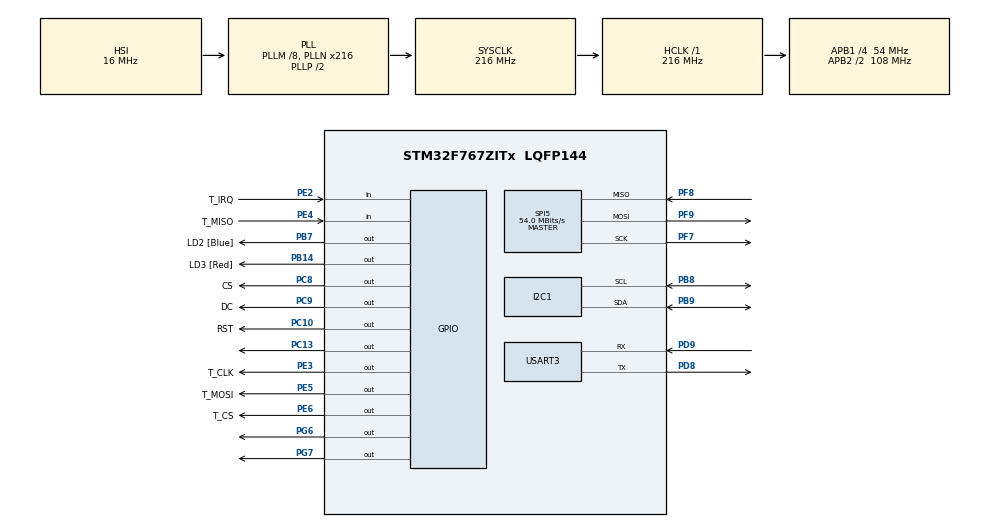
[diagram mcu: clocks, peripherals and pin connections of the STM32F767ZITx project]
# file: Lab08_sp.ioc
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CORTEX_M7.default_mode_Activation=1
I2C1.Timing=0x20404768
Mcu.Family=STM32F7
Mcu.Name=STM32F767ZITx
Mcu.Package=LQFP144
NVIC.PriorityGroup=NVIC_PRIORITYGROUP_4
NVIC.TIM1_UP_TIM10_IRQn=true\:1\:0\:true\:false\:true\:true\:true\:true
NVIC.TIM2_IRQn=true\:2\:0\:true\:false\:true\:true\:true\:true
PB14.GPIO_Label=LD3 [Red]
PB14.Signal=GPIO_Output
PB7.GPIO_Label=LD2 [Blue]
PB7.Signal=GPIO_Output
PB8.Mode=I2C
PB8.Signal=I2C1_SCL
PB9.Mode=I2C
PB9.Signal=I2C1_SDA
PC10.GPIO_Label=RST
PC10.GPIO_Speed=GPIO_SPEED_FREQ_VERY_HIGH
PC10.Signal=GPIO_Output
PC13.Signal=GPIO_Output
PC8.GPIO_Label=CS
PC8.GPIO_Speed=GPIO_SPEED_FREQ_VERY_HIGH
PC8.Signal=GPIO_Output
PC9.GPIO_Label=DC
PC9.GPIO_Speed=GPIO_SPEED_FREQ_VERY_HIGH
PC9.Signal=GPIO_Output
PD8.Mode=Asynchronous
PD8.Signal=USART3_TX
PD9.Mode=Asynchronous
PD9.Signal=USART3_RX
PE2.GPIO_Label=T_IRQ
PE2.Signal=GPIO_Input
PE3.GPIO_Label=T_CLK
PE3.GPIO_Speed=GPIO_SPEED_FREQ_VERY_HIGH
PE3.Signal=GPIO_Output
PE4.GPIO_Label=T_MISO
PE4.Signal=GPIO_Input
PE5.GPIO_Label=T_MOSI
PE5.GPIO_Speed=GPIO_SPEED_FREQ_VERY_HIGH
PE5.Signal=GPIO_Output
PE6.GPIO_Label=T_CS
PE6.Signal=GPIO_Output
PF7.Mode=Full_Duplex_Master
PF7.Signal=SPI5_SCK
PF8.Mode=Full_Duplex_Master
PF8.Signal=SPI5_MISO
PF9.Mode=Full_Duplex_Master
PF9.Signal=SPI5_MOSI
PG6.Signal=GPIO_Output
PG7.Signal=GPIO_Output
ProjectManager.HeapSize=0x200
ProjectManager.StackSize=0x400
ProjectManager.TargetToolchain=STM32CubeIDE
RCC.AHBFreq_Value=216000000
RCC.APB1CLKDivider=RCC_HCLK_DIV4
RCC.APB1Freq_Value=54000000
RCC.APB1TimFreq_Value=108000000
RCC.APB2CLKDivider=RCC_HCLK_DIV2
RCC.APB2Freq_Value=108000000
RCC.APB2TimFreq_Value=216000000
RCC.CortexFreq_Value=216000000
RCC.HCLKFreq_Value=216000000
RCC.HSE_VALUE=25000000
RCC.HSI_VALUE=16000000
RCC.LSE_VALUE=32768
RCC.PLLM=8
RCC.PLLN=216
RCC.PLLQ=9
RCC.SYSCLKFreq_VALUE=216000000
RCC.SYSCLKSource=RCC_SYSCLKSOURCE_PLLCLK
RCC.USBFreq_Value=48000000
RCC.VCOOutputFreq_Value=432000000
SPI5.CalculateBaudRate=54.0 MBits/s
SPI5.DataSize=SPI_DATASIZE_8BIT
SPI5.Direction=SPI_DIRECTION_2LINES
SPI5.Mode=SPI_MODE_MASTER
SPI5.NSSPMode=SPI_NSS_PULSE_DISABLE
SPI5.VirtualType=VM_MASTER
TIM1.ClockDivision=TIM_CLOCKDIVISION_DIV2
TIM1.Period=0
TIM1.Prescaler=216-1
USART3.VirtualMode-Asynchronous=VM_ASYNC
VP_RNG_VS_RNG.Mode=RNG_Activate
VP_TIM1_VS_ClockSourceINT.Mode=Internal
VP_TIM2_VS_ClockSourceINT.Mode=Internal
board=custom

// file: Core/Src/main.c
/* USER CODE BEGIN Header */
/**
  ******************************************************************************
  * @file           : main.c
  * @brief          : Main program body
  ******************************************************************************
  * @attention
  *
  * Copyright (c) 2025 STMicroelectronics.
  * All rights reserved.
  *
  * This software is licensed under terms that can be found in the LICENSE file
  * in the root directory of this software component.
  * If no LICENSE file comes with this software, it is provided AS-IS.
  *
  ******************************************************************************
  */
/* USER CODE END Header */
#include "main.h"
#include "i2c.h"
#include "rng.h"
#include "spi.h"
#include "tim.h"
#include "usart.h"
#include "gpio.h"

/* USER CODE BEGIN Includes */
#include "ILI9341_Touchscreen.h"
#include "ILI9341_STM32_Driver.h"
#include "ILI9341_GFX.h"

#include "snow_tiger.h"
#include "stdio.h"
#include "string.h"

/* USER CODE END Includes */

/* USER CODE BEGIN PD */

#define LIGHT_RED 0b1111110011010011
#define LIGHT_GREEN 0b1001111111110011
#define LIGHT_BLUE 0b1001110011011111

/* USER CODE END PD */

/* USER CODE BEGIN PV */
/* Private variables ---------------------------------------------------------*/
uint16_t coords[2];
uint16_t tx = 0;
uint16_t ty = 0;

char str[50];
char debug[50];

uint8_t cmdBuffer[3];
uint8_t dataBuffer[8];
uint16_t mixedColor = 0x0000;

float h = 30.0, t = 40.0;
uint8_t step = 0;
volatile uint8_t touchFlag = 0;

float Red_L = 0;
float Green_L = 0;
float Blue_L = 0;

uint8_t redValue = 0;
uint8_t greenValue = 0;
uint8_t blueValue = 0;

char T_Buffer[8];
char H_Buffer[8];

uint8_t screen = 0;
/* USER CODE END PV */

void SystemClock_Config(void);
static void MPU_Config(void);
/* USER CODE BEGIN PFP */
/* Private function prototypes -----------------------------------------------*/
uint16_t CRC16_2(uint8_t *, uint8_t);
/* USER CODE END PFP */

/* USER CODE BEGIN 0 */
uint16_t CRC16_2(uint8_t *ptr, uint8_t length){

	uint16_t crc = 0xFFFF;
	uint8_t  s   = 0x00;

	while(length--){
		crc ^= *ptr++;
		for(s = 0; s < 8; s++){
			if((crc & 0x01) != 0){
				crc >>= 1;
				crc ^= 0xA001;
			} else crc >>= 1;
		}
	}
	return crc;
}

uint8_t IsCircleTouched(uint16_t tx, uint16_t ty, uint16_t cx, uint16_t cy, uint16_t r) {
    int dx = tx - cx;
    int dy = ty - cy;
    return (dx*dx + dy*dy <= r*r);  // inside circle?
}

void mixColor() {
  redValue = 0b11111;
  greenValue = 0b111111;
  blueValue = 0b11111;

  redValue = (uint8_t)(redValue * Red_L);
  greenValue = (uint8_t)(greenValue * Green_L);
  blueValue = (uint8_t)(blueValue * Blue_L);

  mixedColor = (uint16_t)(blueValue);
  mixedColor |= (greenValue << 5);
  mixedColor |= (redValue << 11);
}

void initializeScreen0() {
	ILI9341_Set_Rotation(SCREEN_HORIZONTAL_2);
	ILI9341_Fill_Screen(WHITE);

	sprintf(T_Buffer, "%4.1f C", t);
	ILI9341_Draw_Text(T_Buffer, 60, 40, BLACK, 2, WHITE);

	sprintf(H_Buffer, "%4.1f %%RH", h);
	ILI9341_Draw_Text(H_Buffer, 170, 40, BLACK, 2, WHITE);
//		HAL_Delay(2000);
//		ILI9341_Fill_Screen(WHITE);

	ILI9341_Draw_Rectangle(70, 90, 170, 20, LIGHT_RED);
	ILI9341_Draw_Rectangle(70, 90,  (uint16_t)(170 * Red_L), 20, RED);

	ILI9341_Draw_Rectangle(70, 140, 170, 20, LIGHT_GREEN);
	ILI9341_Draw_Rectangle(70, 140, (uint16_t)(170 * Green_L), 20, GREEN);

	ILI9341_Draw_Rectangle(70, 190, 170, 20, LIGHT_BLUE);
	ILI9341_Draw_Rectangle(70, 190, (uint16_t)(170 * Blue_L), 20, BLUE);

	ILI9341_Draw_Filled_Circle(50, 100, 30/2, RED);
	ILI9341_Draw_Filled_Circle(50, 150, 30/2, GREEN);
	ILI9341_Draw_Filled_Circle(50, 200, 30/2, BLUE);

}

/* USER CODE END 0 */

int main(void)
{

  /* MPU Configuration--------------------------------------------------------*/
  MPU_Config();

  /* MCU Configuration--------------------------------------------------------*/

  /* Reset of all peripherals, Initializes the Flash interface and the Systick. */
  HAL_Init();

  /* Configure the system clock */
  SystemClock_Config();

  /* Initialize all configured peripherals */
  MX_GPIO_Init();
  MX_RNG_Init();
  MX_SPI5_Init();
  MX_TIM1_Init();
  MX_USART3_UART_Init();
  MX_I2C1_Init();
  MX_TIM2_Init();
  /* USER CODE BEGIN 2 */

  ILI9341_Init();//initial driver setup to drive ili9341
  initializeScreen0();

  cmdBuffer[0] = 0x03;
  cmdBuffer[1] = 0x00;
  cmdBuffer[2] = 0x04;

  /* USER CODE END 2 */

  /* Infinite loop */
  while (1)
  {

    /* USER CODE BEGIN 3 */
	  sprintf(debug, "Screen = %d\n", screen);
	  HAL_UART_Transmit(&huart3, (uint8_t*)debug, strlen(debug), 200);

	  if (screen == 0) {
		  sprintf(str, "Temperature = %4.1f\tHumidity = %4.1f\n\r", t, h);
		  	  while(__HAL_UART_GET_FLAG(&huart3, UART_FLAG_TC) == RESET){}
		  	  HAL_UART_Transmit(&huart3, (uint8_t*)str, strlen(str), 200);

		  	  HAL_I2C_Master_Transmit(&hi2c1, 0x5c<<1, cmdBuffer, 3, 200);

		  	  HAL_I2C_Master_Transmit(&hi2c1, 0x5c<<1, cmdBuffer, 3, 200);

		  	  HAL_Delay(5);

		  	  HAL_I2C_Master_Receive(&hi2c1, 0x5c<<1, dataBuffer, 8, 200);

		  	  uint8_t Rcrc = dataBuffer[7] << 8;
		  	  Rcrc += dataBuffer[6];

		  	  if (Rcrc == CRC16_2(dataBuffer, 6)) {
		  		  uint16_t temperature = ((dataBuffer[4] & 0x7F) << 8) + dataBuffer[5];
		  		  t = temperature / 10.0;
		  		  t = (((dataBuffer[4] & 0x80) >> 7) == 1) ? (t * (-1)) : t;

		  		  uint16_t humidity = (dataBuffer[2] << 8) + dataBuffer[3];
		  		  h = humidity / 10.0;
		  	  }

		  		sprintf(T_Buffer, "%4.1f C", t);
		  		ILI9341_Draw_Text(T_Buffer, 60, 40, BLACK, 2, WHITE);

		  		sprintf(H_Buffer, "%4.1f %%RH", h);
		  		ILI9341_Draw_Text(H_Buffer, 170, 40, BLACK, 2, WHITE);
		  //		HAL_Delay(2000);
		  //		ILI9341_Fill_Screen(WHITE);

		  		ILI9341_Draw_Rectangle(70, 90, 170, 20, LIGHT_RED);
		  		ILI9341_Draw_Rectangle(70, 90,  (uint16_t)(170 * Red_L), 20, RED);

		  		ILI9341_Draw_Rectangle(70, 140, 170, 20, LIGHT_GREEN);
		  		ILI9341_Draw_Rectangle(70, 140, (uint16_t)(170 * Green_L), 20, GREEN);

		  		ILI9341_Draw_Rectangle(70, 190, 170, 20, LIGHT_BLUE);
		  		ILI9341_Draw_Rectangle(70, 190, (uint16_t)(170 * Blue_L), 20, BLUE);

		  		ILI9341_Draw_Filled_Circle(150, 50, 30/2, mixedColor);
		  		sprintf(debug, "Mixed Color = %d\n", mixedColor);
		  		HAL_UART_Transmit(&huart3, (uint8_t*)debug, strlen(debug), 200);

		  		if (TP_Touchpad_Pressed()) {

		  			if (TP_Read_Coordinates(coords) == TOUCHPAD_DATA_OK) {
		  				tx = coords[0];
		  				ty = coords[1];

		  				sprintf(debug, "X = %d | Y = %d", coords[0], coords[1]);
		  				HAL_UART_Transmit(&huart3, (uint8_t*)debug, strlen(debug), 200);

		  				if ((tx >= 85 && tx <= 115) && (ty >= 265 && ty <= 295)) {
		  					Red_L += 0.1;
		  			  		if (Red_L > 1.01) {
		  			  			Red_L = 0;
		  			  		}

		  					sprintf(debug, "Red_L = %.2f\r\n", Red_L);
		  					HAL_UART_Transmit(&huart3, (uint8_t*)debug, strlen(debug), 200);
		  				}

		  			    if ((tx >= 135 && tx <= 165) && (ty >= 265 && ty <= 295)) {
		  					Green_L += 0.1;
		  			  		if (Green_L > 1.01) {
		  			  			Green_L = 0;
		  			  		}

		  					sprintf(debug, "Green_L = %.2f\r\n", Green_L);
		  					HAL_UART_Transmit(&huart3, (uint8_t*)debug, strlen(debug), 200);
		  				}

		  				if ((tx >= 185 && tx <= 215) && (ty >= 265 && ty <= 295)) {
		  					Blue_L += 0.1;
		  			  		if (Blue_L > 1.01) {
		  			  			Blue_L = 0;
		  			  		}

		  					sprintf(debug, "Blue_L = %.2f\r\n", Blue_L);
		  					HAL_UART_Transmit(&huart3, (uint8_t*)debug, strlen(debug), 200);
		  				}

		  				if ((tx >= 30 && tx <= 60) && (ty >= 155 && ty <= 185)) {
		  					screen = 1;
		  					continue;
		  				}

		  				mixColor();
		  			}
		  		}
	  }
	  else if (screen == 1) {
	      ILI9341_Set_Rotation(SCREEN_HORIZONTAL_2);
	  	  ILI9341_Fill_Screen(WHITE);
//	      ILI9341_Draw_Image(CHILL_GUY, SCREEN_HORIZONTAL_1);

	      char group[] = "Group #28";
	      ILI9341_Draw_Text(group, 144, 64 + (32 * 0), mixedColor, 2, WHITE);

	      char name[] = "Jiraphat";
	      ILI9341_Draw_Text(name, 144, 64 + (32 * 1), mixedColor, 2, WHITE);

	      char surname[] = "Sabutr";
	      ILI9341_Draw_Text(surname, 144, 64 + (32 * 2), mixedColor, 2, WHITE);

	      char id[] = "66010121";
	      ILI9341_Draw_Text(id, 144, 64 + (32 * 3), mixedColor, 2, WHITE);

	      HAL_TIM_Base_Start_IT(&htim2);

	      while (screen == 1) {
	              if (TP_Read_Coordinates(coords) == TOUCHPAD_DATA_OK) {
	                tx = coords[0];
	                ty = coords[1];

	                // ILI9341_Set_Rotation(SCREEN_HORIZONTAL_1);
	                // char counter_buff[30];
	                // sprintf(counter_buff, "POS X: %.3d", posX);
	                // ILI9341_Draw_Text(counter_buff, 10, 0, BLACK, 2, WHITE);
	                // sprintf(counter_buff, "POS Y: %.3d", posY);
	                // ILI9341_Draw_Text(counter_buff, 10, 16, BLACK, 2, WHITE);
	                // ILI9341_Set_Rotation(SCREEN_VERTICAL_1);

	                if ((tx >= 28 && tx <= 226) && (ty >= 16 && ty <= 134)) {
	                  screen = 0;
	                  initializeScreen0();
	                  break;
	                }
	              }
	            }
	            // screen = 0;
	            // initializeScreen0();
	  	  }
	  }

  /* USER CODE END 3 */
}

void SystemClock_Config(void)
{
  RCC_OscInitTypeDef RCC_OscInitStruct = {0};
  RCC_ClkInitTypeDef RCC_ClkInitStruct = {0};

  /** Configure the main internal regulator output voltage
  */
  __HAL_RCC_PWR_CLK_ENABLE();
  __HAL_PWR_VOLTAGESCALING_CONFIG(PWR_REGULATOR_VOLTAGE_SCALE1);

  /** Initializes the RCC Oscillators according to the specified parameters
  * in the RCC_OscInitTypeDef structure.
  */
  RCC_OscInitStruct.OscillatorType = RCC_OSCILLATORTYPE_HSI;
  RCC_OscInitStruct.HSIState = RCC_HSI_ON;
  RCC_OscInitStruct.HSICalibrationValue = RCC_HSICALIBRATION_DEFAULT;
  RCC_OscInitStruct.PLL.PLLState = RCC_PLL_ON;
  RCC_OscInitStruct.PLL.PLLSource = RCC_PLLSOURCE_HSI;
  RCC_OscInitStruct.PLL.PLLM = 8;
  RCC_OscInitStruct.PLL.PLLN = 216;
  RCC_OscInitStruct.PLL.PLLP = RCC_PLLP_DIV2;
  RCC_OscInitStruct.PLL.PLLQ = 9;
  RCC_OscInitStruct.PLL.PLLR = 2;
  if (HAL_RCC_OscConfig(&RCC_OscInitStruct) != HAL_OK)
  {
    Error_Handler();
  }

  /** Activate the Over-Drive mode
  */
  if (HAL_PWREx_EnableOverDrive() != HAL_OK)
  {
    Error_Handler();
  }

  /** Initializes the CPU, AHB and APB buses clocks
  */
  RCC_ClkInitStruct.ClockType = RCC_CLOCKTYPE_HCLK|RCC_CLOCKTYPE_SYSCLK
                              |RCC_CLOCKTYPE_PCLK1|RCC_CLOCKTYPE_PCLK2;
  RCC_ClkInitStruct.SYSCLKSource = RCC_SYSCLKSOURCE_PLLCLK;
  RCC_ClkInitStruct.AHBCLKDivider = RCC_SYSCLK_DIV1;
  RCC_ClkInitStruct.APB1CLKDivider = RCC_HCLK_DIV4;
  RCC_ClkInitStruct.APB2CLKDivider = RCC_HCLK_DIV2;

  if (HAL_RCC_ClockConfig(&RCC_ClkInitStruct, FLASH_LATENCY_7) != HAL_OK)
  {
    Error_Handler();
  }
}

/* USER CODE BEGIN 4 */
//void HAL_GPIO_EXTI_Callback(uint16_t GPIO_Pin)
//{
//    if (GPIO_Pin == T_IRQ_Pin) {
//
//    	uint16_t coords[2];
//    	if (TP_Read_Coordinates(coords) == TOUCHPAD_DATA_OK) {
//    		uint16_t tx = coords[0];
//    		uint16_t ty = coords[1];
//
//    		if (IsCircleTouched(tx, ty, 50, 100, 15)) {
//    			if (Red_L >= 100) {
//    				Red_L = 0;
//    			} else {
//    				Red_L += 10;
//    			}
//    		}
//            else if (IsCircleTouched(tx, ty, 50, 150, 15)) {
//            	if (Green_L >= 100) {
//            	    Green_L = 0;
//            	} else {
//            	    Green_L += 10;
//            	}
//    		}
//    	    else if (IsCircleTouched(tx, ty, 50, 200, 15)) {
//    	    	if (Blue_L >= 100) {
//    	    	    Blue_L = 0;
//    	    	} else {
//    	    	    Blue_L += 10;
//    	    	}
//    	    }
//    	}
//    }
//}

/* USER CODE END 4 */

 /* MPU Configuration */

void MPU_Config(void)
{
  MPU_Region_InitTypeDef MPU_InitStruct = {0};

  /* Disables the MPU */
  HAL_MPU_Disable();

  /** Initializes and configures the Region and the memory to be protected
  */
  MPU_InitStruct.Enable = MPU_REGION_ENABLE;
  MPU_InitStruct.Number = MPU_REGION_NUMBER0;
  MPU_InitStruct.BaseAddress = 0x0;
  MPU_InitStruct.Size = MPU_REGION_SIZE_4GB;
  MPU_InitStruct.SubRegionDisable = 0x87;
  MPU_InitStruct.TypeExtField = MPU_TEX_LEVEL0;
  MPU_InitStruct.AccessPermission = MPU_REGION_NO_ACCESS;
  MPU_InitStruct.DisableExec = MPU_INSTRUCTION_ACCESS_DISABLE;
  MPU_InitStruct.IsShareable = MPU_ACCESS_SHAREABLE;
  MPU_InitStruct.IsCacheable = MPU_ACCESS_NOT_CACHEABLE;
  MPU_InitStruct.IsBufferable = MPU_ACCESS_NOT_BUFFERABLE;

  HAL_MPU_ConfigRegion(&MPU_InitStruct);
  /* Enables the MPU */
  HAL_MPU_Enable(MPU_PRIVILEGED_DEFAULT);

}

void Error_Handler(void)
{
  __disable_irq();
  while (1)
  {
  }
}
